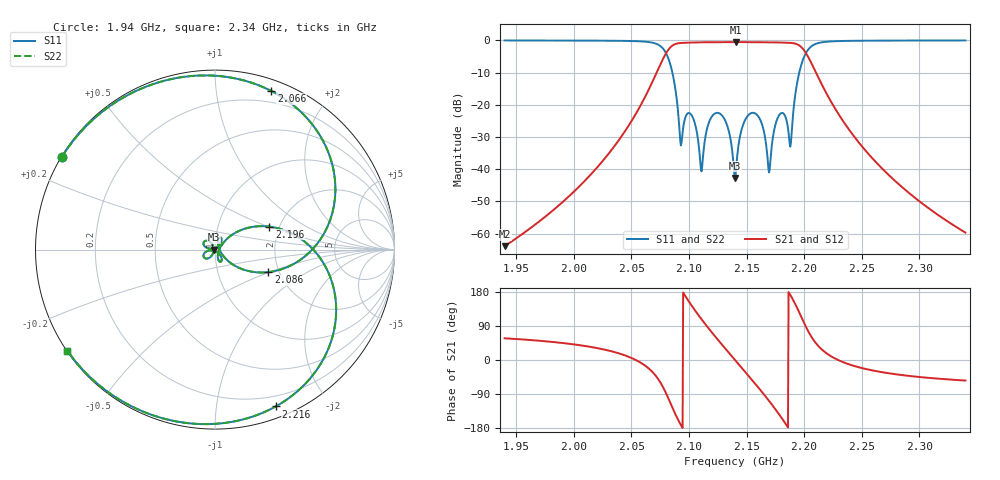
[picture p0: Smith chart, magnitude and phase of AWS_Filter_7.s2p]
!Port 1 is shunt  connected
!Port 2 is shunt  connected
!prototype= pole placed tchebycheff
!n=  5,  np= 0,  rl=  22.000dB
!transform= band pass
!f0= 2140.000MHz,  bw=  100.000MHz, q0=1100.000
!fstart= 1940.000MHz, fstep=  0.500MHz, fstop= 2340.000MHz
# MHZ S MA R 50
!Freq  Mag(S11)  Arg(S11)  Mag(S21)  Arg(S21)  Mag(S12)  Arg(S12)  Mag(S22)  Arg(S22)
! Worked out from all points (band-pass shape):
!   801 points, 1.94 GHz to 2.34 GHz, reference 50 ohm
!   highest |S21| = -0.53 dB at 2.14 GHz (marker M1); lowest = -63.9 dB at 1.94 GHz (marker M2)
!   |S21| within 3 dB of the highest: 2.081 GHz to 2.201 GHz (119.9 MHz wide, 5.6 % of centre)
!   lowest |S11| = -42.7 dB at 2.14 GHz (marker M3), VSWR 1.01, Z = 49.3 - j0.000151 ohm
!   |S11| at or under -10 dB: 2.086 GHz to 2.196 GHz (110.2 MHz wide, 5.15 % of centre)
!   |S22| runs from -42.7 to 0.0 dB; largest |S21 - S12| = 0
!   S11 on the Smith chart (normalised r, x): 1.94 GHz: 0.00, +0.28; 2.066 GHz: 0.10, +1.41; 2.086 GHz: 1.76, -0.49; 2.196 GHz: 1.78, +0.51; 2.216 GHz: 0.10, -1.46; 2.34 GHz: 0.00, -0.31
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1940  0.9971 148.8  0.0006384 57.3  0.0006384 57.3  0.9971 148.8
2007  0.9927 130.6  0.005913 38.3  0.005913 38.3  0.9927 130.6
2066  0.9378 70.4  0.1857 -24.7  0.1857 -24.7  0.9378 70.4
2073.5  0.8545 45.3  0.3629 -51.0  0.3629 -51.0  0.8545 45.3
2085.5  0.3231 -22.9  0.8262 -124.8  0.8262 -124.8  0.3231 -22.9
2093  0.02337 15.8  0.9114 -171.4  0.9114 -171.4  0.02337 15.8
2101.5  0.07203 59.7  0.9245 147.3  0.9245 147.3  0.07203 59.7
2112.5  0.01782 162.3  0.9347 101.3  0.9347 101.3  0.01782 162.3
2117.5  0.05387 165.7  0.9358 81.8  0.9358 81.8  0.05387 165.7
2126  0.07426 141.1  0.9372 50.3  0.9372 50.3  0.07426 141.1
2140  0.007307 -180.0  0.9412 -0.0  0.9412 -0.0  0.007307 -180.0
2140.5  0.008211 -154.5  0.9412 -1.8  0.9412 -1.8  0.008211 -154.5
2154.5  0.0747 -142.4  0.9379 -51.7  0.9379 -51.7  0.0747 -142.4
2163  0.05239 -166.4  0.9371 -82.8  0.9371 -82.8  0.05239 -166.4
2168  0.01667 -161.3  0.9363 -101.8  0.9363 -101.8  0.01667 -161.3
2179.5  0.07296 -60.5  0.9266 -148.6  0.9266 -148.6  0.07296 -60.5
2188  0.0224 -18.5  0.9152 171.7  0.9152 171.7  0.0224 -18.5
2196  0.329 22.9  0.8293 124.2  0.8293 124.2  0.329 22.9
2207  0.8247 -38.4  0.4187 57.9  0.4187 57.9  0.8247 -38.4
2216  0.937 -68.8  0.1963 26.1  0.1963 26.1  0.937 -68.8
2273.5  0.9925 -127.2  0.008111 -35.0  0.008111 -35.0  0.9925 -127.2
2340  0.997 -145.6  0.001037 -54.2  0.001037 -54.2  0.997 -145.6
